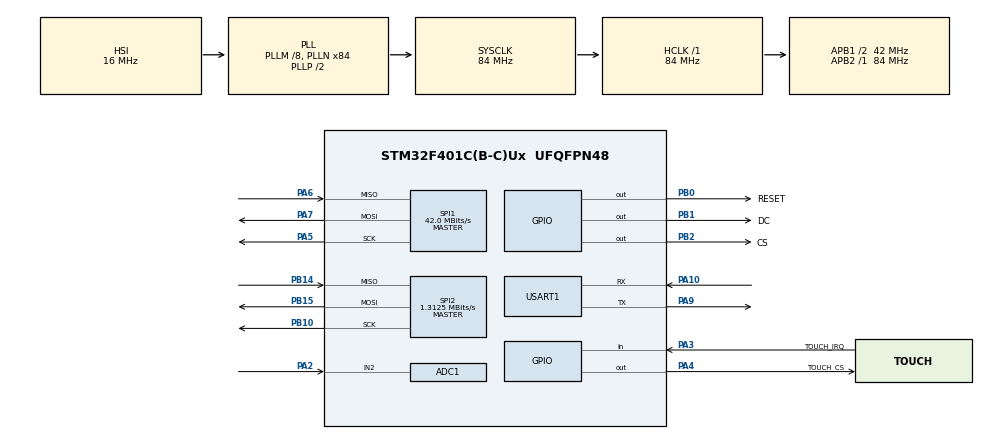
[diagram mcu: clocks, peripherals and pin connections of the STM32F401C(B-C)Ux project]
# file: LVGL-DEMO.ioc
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ADC1.Channel-0\#ChannelRegularConversion=ADC_CHANNEL_2
ADC1.NbrOfConversionFlag=1
ADC1.Rank-0\#ChannelRegularConversion=1
ADC1.SamplingTime-0\#ChannelRegularConversion=ADC_SAMPLETIME_3CYCLES
ADC1.master=1
Dma.Request0=SPI1_TX
Dma.SPI1_TX.0.Direction=DMA_MEMORY_TO_PERIPH
Dma.SPI1_TX.0.FIFOMode=DMA_FIFOMODE_DISABLE
Dma.SPI1_TX.0.Instance=DMA2_Stream3
Dma.SPI1_TX.0.MemDataAlignment=DMA_MDATAALIGN_BYTE
Dma.SPI1_TX.0.MemInc=DMA_MINC_ENABLE
Dma.SPI1_TX.0.Mode=DMA_NORMAL
Dma.SPI1_TX.0.PeriphDataAlignment=DMA_PDATAALIGN_BYTE
Dma.SPI1_TX.0.PeriphInc=DMA_PINC_DISABLE
Dma.SPI1_TX.0.Priority=DMA_PRIORITY_LOW
Mcu.Family=STM32F4
Mcu.Name=STM32F401C(B-C)Ux
Mcu.Package=UFQFPN48
NVIC.DMA2_Stream3_IRQn=true\:0\:0\:false\:false\:true\:false\:true\:true
NVIC.PriorityGroup=NVIC_PRIORITYGROUP_4
NVIC.SPI1_IRQn=true\:0\:0\:false\:false\:true\:true\:true\:true
NVIC.SPI2_IRQn=true\:0\:0\:false\:false\:true\:true\:true\:true
PA10.Mode=Asynchronous
PA10.Signal=USART1_RX
PA2.Signal=ADCx_IN2
PA3.GPIO_Label=TOUCH_IRQ
PA3.GPIO_PuPd=GPIO_PULLUP
PA3.Signal=GPIO_Input
PA4.GPIO_Label=TOUCH_CS
PA4.PinState=GPIO_PIN_SET
PA4.Signal=GPIO_Output
PA5.Mode=Full_Duplex_Master
PA5.Signal=SPI1_SCK
PA6.Mode=Full_Duplex_Master
PA6.Signal=SPI1_MISO
PA7.Mode=Full_Duplex_Master
PA7.Signal=SPI1_MOSI
PA9.Mode=Asynchronous
PA9.Signal=USART1_TX
PB0.GPIO_Label=RESET
PB0.Signal=GPIO_Output
PB1.GPIO_Label=DC
PB1.Signal=GPIO_Output
PB10.Mode=Full_Duplex_Master
PB10.Signal=SPI2_SCK
PB14.Mode=Full_Duplex_Master
PB14.Signal=SPI2_MISO
PB15.Mode=Full_Duplex_Master
PB15.Signal=SPI2_MOSI
PB2.GPIO_Label=CS
PB2.Signal=GPIO_Output
ProjectManager.HeapSize=0x200
ProjectManager.StackSize=0x400
ProjectManager.TargetToolchain=STM32CubeIDE
RCC.48MHZClocksFreq_Value=42000000
RCC.AHBFreq_Value=84000000
RCC.APB1CLKDivider=RCC_HCLK_DIV2
RCC.APB1Freq_Value=42000000
RCC.APB1TimFreq_Value=84000000
RCC.APB2Freq_Value=84000000
RCC.APB2TimFreq_Value=84000000
RCC.CortexFreq_Value=84000000
RCC.HCLKFreq_Value=84000000
RCC.HSE_VALUE=25000000
RCC.HSI_VALUE=16000000
RCC.LSE_VALUE=32768
RCC.PLLM=8
RCC.PLLN=84
RCC.SYSCLKFreq_VALUE=84000000
RCC.SYSCLKSource=RCC_SYSCLKSOURCE_PLLCLK
RCC.VCOOutputFreq_Value=168000000
SH.ADCx_IN2.0=ADC1_IN2,IN2
SPI1.CalculateBaudRate=42.0 MBits/s
SPI1.Direction=SPI_DIRECTION_2LINES
SPI1.Mode=SPI_MODE_MASTER
SPI1.VirtualType=VM_MASTER
SPI2.BaudRatePrescaler=SPI_BAUDRATEPRESCALER_32
SPI2.CalculateBaudRate=1.3125 MBits/s
SPI2.Direction=SPI_DIRECTION_2LINES
SPI2.Mode=SPI_MODE_MASTER
SPI2.VirtualType=VM_MASTER
USART1.VirtualMode=VM_ASYNC
board=custom

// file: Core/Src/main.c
/* USER CODE BEGIN Header */
/**
  ******************************************************************************
  * @file           : main.c
  * @brief          : Main program body — spirometry UI + flow engine
  ******************************************************************************
  */
/* USER CODE END Header */

#include "main.h"
#include "adc.h"
#include "dma.h"
#include "spi.h"
#include "usart.h"
#include "gpio.h"

/* USER CODE BEGIN Includes */
#include <stdio.h>          /* printf / snprintf */
#include "lvgl.h"
#include "lv_port_disp.h"
#include "xpt2046.h"
#include "touch_cal.h"
#include "ui/ui.h"
#include "ui/screens.h"
#include "spirometry.h"
#include <stdlib.h>
/* USER CODE END Includes */

void SystemClock_Config(void);

/* USER CODE BEGIN 0 */

/*
 * Redirect printf → USART1 (PA9 TX, 115200 8N1).
 * Every call to printf / puts / fprintf(stdout) flows through here.
 * Cost: ~87 µs per byte at 115200 baud — fine for debug, avoid in hot path.
 */
int __io_putchar(int ch)
{
    HAL_UART_Transmit(&huart1, (uint8_t *)&ch, 1, HAL_MAX_DELAY);
    return ch;
}

/*
 * LOG(fmt, ...) — timestamped single-line log macro.
 * Output example:  [  1234] touch raw x=1820 y=2310
 * The %6lu zero-pads the tick to keep columns aligned.
 */
#define LOG(fmt, ...)  \
    printf("[%6lu] " fmt "\r\n", HAL_GetTick(), ##__VA_ARGS__)

/* USER CODE END 0 */

int main(void)
{
  HAL_Init();
  SystemClock_Config();

  MX_GPIO_Init();
  MX_DMA_Init();
  MX_SPI1_Init();
  MX_SPI2_Init();
  MX_ADC1_Init();
  MX_USART1_UART_Init();

  /* USER CODE BEGIN 2 */

  /* ── First log line — proves UART is alive ────────────────────────── */
  LOG("=== BOOT ===");
  LOG("USART1 115200 8N1 OK");

  /* ── Step 1: LVGL + display ─────────────────────────────────────────── */
  LOG("lv_init...");
  lv_init();
  lv_tick_set_cb(HAL_GetTick);

  LOG("lv_port_disp_init...");
  lv_port_disp_init();
  LOG("display OK — ILI9341 ROTATE_0 240x320");

  /* ── Step 2: Touch hardware ──────────────────────────────────────────── */
  LOG("xpt2046_init...");
  xpt2046_init();

  /*
   * Quick IRQ sanity check — read T_IRQ once BEFORE calibration.
   * Expected when NOT touching: GPIO_PIN_SET (1 = not pressed).
   * If it prints 0 here with no finger on the panel, T_IRQ is stuck low
   * (floating, shorted, or PULLUP fighting the module's own pull-up).
   */
  uint8_t irq_idle = HAL_GPIO_ReadPin(TOUCH_IRQ_GPIO_Port, TOUCH_IRQ_Pin);
  LOG("T_IRQ idle = %u  (expected 1 = not pressed)", irq_idle);
  if (irq_idle == 0) {
      LOG("WARNING: T_IRQ is LOW with no touch — check wiring or gpio.c pull setting");
  }

  /* ── Step 3: Calibration ─────────────────────────────────────────────── */
  /* Set ENABLE_TOUCH_CAL to 0 during bring-up to skip the 4-tap calibration.
   * The XPT2046 driver then uses its built-in default mapping — touch will be
   * approximate but fully functional for exercising the UI. */
#ifndef ENABLE_TOUCH_CAL
#define ENABLE_TOUCH_CAL 0
#endif
#if ENABLE_TOUCH_CAL
  LOG("touch_cal_run — waiting for 4 corner taps...");
  touch_cal_run();
  LOG("calibration done");
#else
  LOG("touch calibration SKIPPED (ENABLE_TOUCH_CAL=0, using default cal)");
#endif

  /* ── Step 4: Register LVGL indev ────────────────────────────────────── */
  LOG("registering touch indev...");
  lv_indev_t *touch_indev = lv_indev_create();
  lv_indev_set_type(touch_indev, LV_INDEV_TYPE_POINTER);
  lv_indev_set_read_cb(touch_indev, lv_touchpad_read);
  /* Note: lv_conf.h has LV_USE_GESTURE_RECOGNITION=0, so LVGL's built-in
   * multi-touch gesture system is already disabled at compile time.
   * Swipe-to-navigate is blocked in screens.c via gesture_consume_cb
   * (lv_event_stop_processing) registered on every screen root, plus
   * make_inert_container() clearing SCROLLABLE/CLICKABLE/GESTURE_BUBBLE
   * on all non-interactive containers. */
  LOG("indev registered");

  /* ── Step 5: UI ──────────────────────────────────────────────────────── */
  LOG("ui_init...");
  ui_init();
  LOG("ui_init done");

  /* ── Step 6: Spirometry engine ───────────────────────────────────────── */
  LOG("spiro_init...");
  spiro_init();
  LOG("spiro_init done");

  LOG("=== ENTERING MAIN LOOP ===");

  /* USER CODE END 2 */

  /* ── Main loop ───────────────────────────────────────────────────────── */
  /* USER CODE BEGIN WHILE */

  /*
   * Touch probe variables — log every new touch coordinate once per press.
   * Removed from production build by defining NDEBUG or deleting this block.
   */
  static int16_t last_logged_x = -1;
  static int16_t last_logged_y = -1;
  static bool    was_pressed   = false;
  uint32_t       loop_count    = 0;

  while (1)
  {
    /* USER CODE END WHILE */
    /* USER CODE BEGIN 3 */

    lv_timer_handler();
    ui_tick();          /* drives per-screen tick logic (boot progress bar,
                           dashboard refresh, …). Without this the boot screen
                           never finishes and the dashboard is never shown. */
    spiro_process();
    HAL_Delay(2);

    /*
     * Touch logging — fires once on press (coordinates) and once on release.
     * At 2 ms per loop this adds ~0 overhead when not touching.
     * Comment out this entire block once touch is confirmed working.
     */
    {
        int16_t  tx = 0, ty = 0;
        uint16_t rx = 0, ry = 0;
        bool pressed = xpt2046_get_touch(&tx, &ty);

        if (pressed && !was_pressed) {
            /* New press — log raw AND calibrated coords so the mapping can
             * be verified: tap the corners and check
             *   top-left      → screen≈(  0,  0)
             *   top-right     → screen≈(239,  0)
             *   bottom-left   → screen≈(  0,319)
             *   bottom-right  → screen≈(239,319)
             * If a corner is mirrored/swapped, the axis handling in
             * xpt2046_get_touch() needs adjusting for this panel. */
            xpt2046_read_raw_point(&rx, &ry);
            LOG("TOUCH PRESS  screen=(%4d,%4d) raw=(%4u,%4u)", tx, ty, rx, ry);
            last_logged_x = tx;
            last_logged_y = ty;
            was_pressed = true;
        } else if (pressed && (tx != last_logged_x || ty != last_logged_y)) {
            /* Drag — log only if position changed significantly */
            if (abs(tx - last_logged_x) > 4 || abs(ty - last_logged_y) > 4) {
                LOG("TOUCH DRAG   screen=(%4d,%4d)", tx, ty);
                last_logged_x = tx;
                last_logged_y = ty;
            }
        } else if (!pressed && was_pressed) {
            LOG("TOUCH RELEASE screen=(%4d,%4d)", last_logged_x, last_logged_y);
            was_pressed = false;
        }
    }

    /*
     * Periodic heartbeat — proves the loop is running.
     * Prints every 5 000 iterations ≈ every 10 seconds.
     * Remove once system is confirmed stable.
     */
    loop_count++;
    if (loop_count % 5000 == 0) {
        LOG("heartbeat tick=%lu", HAL_GetTick());
    }
  }
  /* USER CODE END 3 */
}

void SystemClock_Config(void)
{
  RCC_OscInitTypeDef RCC_OscInitStruct = {0};
  RCC_ClkInitTypeDef RCC_ClkInitStruct = {0};

  __HAL_RCC_PWR_CLK_ENABLE();
  __HAL_PWR_VOLTAGESCALING_CONFIG(PWR_REGULATOR_VOLTAGE_SCALE2);

  RCC_OscInitStruct.OscillatorType      = RCC_OSCILLATORTYPE_HSI;
  RCC_OscInitStruct.HSIState            = RCC_HSI_ON;
  RCC_OscInitStruct.HSICalibrationValue = RCC_HSICALIBRATION_DEFAULT;
  RCC_OscInitStruct.PLL.PLLState        = RCC_PLL_ON;
  RCC_OscInitStruct.PLL.PLLSource       = RCC_PLLSOURCE_HSI;
  RCC_OscInitStruct.PLL.PLLM            = 8;
  RCC_OscInitStruct.PLL.PLLN            = 84;
  RCC_OscInitStruct.PLL.PLLP            = RCC_PLLP_DIV2;
  RCC_OscInitStruct.PLL.PLLQ            = 4;
  if (HAL_RCC_OscConfig(&RCC_OscInitStruct) != HAL_OK) Error_Handler();

  RCC_ClkInitStruct.ClockType      = RCC_CLOCKTYPE_HCLK | RCC_CLOCKTYPE_SYSCLK
                                   | RCC_CLOCKTYPE_PCLK1 | RCC_CLOCKTYPE_PCLK2;
  RCC_ClkInitStruct.SYSCLKSource   = RCC_SYSCLKSOURCE_PLLCLK;
  RCC_ClkInitStruct.AHBCLKDivider  = RCC_SYSCLK_DIV1;
  RCC_ClkInitStruct.APB1CLKDivider = RCC_HCLK_DIV2;
  RCC_ClkInitStruct.APB2CLKDivider = RCC_HCLK_DIV1;
  if (HAL_RCC_ClockConfig(&RCC_ClkInitStruct, FLASH_LATENCY_2) != HAL_OK)
    Error_Handler();
}

void Error_Handler(void)
{
  __disable_irq();
  /* Log before halting so you can see which init step failed */
  LOG("!!! ERROR_HANDLER called at tick=%lu !!!", HAL_GetTick());
  while (1) {}
}
